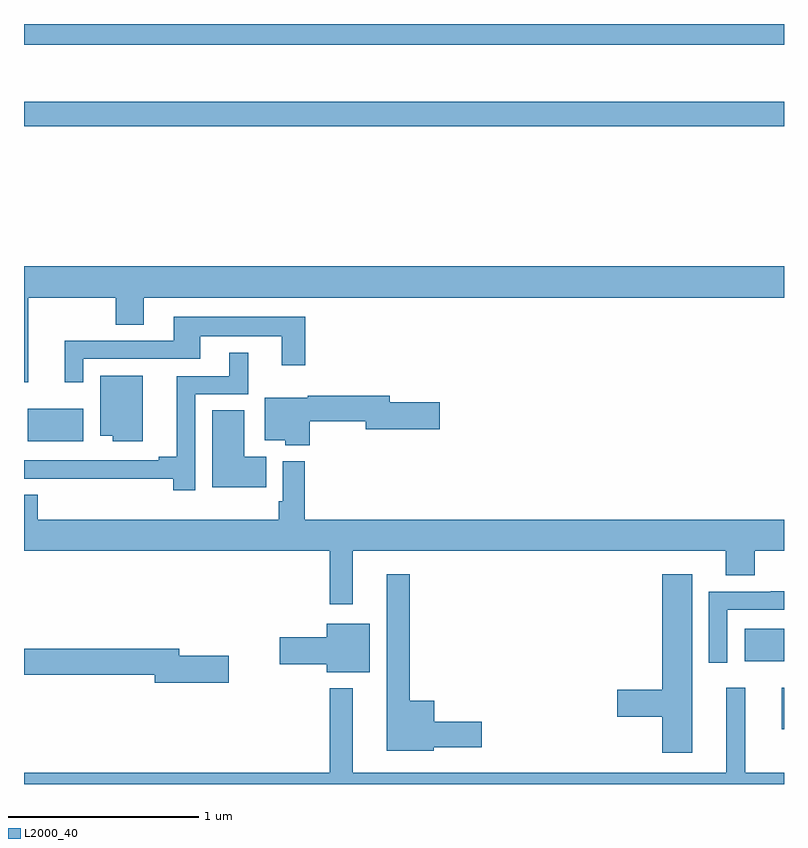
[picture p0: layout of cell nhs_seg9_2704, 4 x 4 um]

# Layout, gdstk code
import gdstk
lib = gdstk.Library(unit=1e-6, precision=1e-09)
def R(c, l, rs):  # rectangles x0, y0, x1, y1
    for r in rs: c.add(gdstk.rectangle(r[:2], r[2:], *l))
def P(c, l, *ps):  # polygons
    for p in ps: c.add(gdstk.Polygon(p, *l))
L2000_40 = (2000, 40)

nhs_seg9_2704 = lib.new_cell('nhs_seg9_2704')
R(nhs_seg9_2704, L2000_40, [(268.988,1220.787,269,1221.007), (268.793,1221.146,269,1221.316), (265.019,1222.304,265.312,1222.474), (265,1223.962,269,1224.091), (265,1224.392,269,1224.5)])
P(nhs_seg9_2704, L2000_40, [(265.022,1223.06),(265.483,1223.06),(265.483,1222.918),(265.63,1222.918),(265.63,1223.06),(269,1223.06),(269,1223.224),(265,1223.224),(265,1222.614),(265.022,1222.614)],
  [(265.311,1222.737),(265.927,1222.737),(265.927,1222.856),(266.357,1222.856),(266.357,1222.704),(266.479,1222.704),(266.479,1222.96),(265.787,1222.96),(265.787,1222.833),(265.214,1222.833),(265.214,1222.614),(265.311,1222.614)],
  [(265.902,1222.551),(266.179,1222.551),(266.179,1222.771),(266.081,1222.771),(266.081,1222.647),(265.805,1222.647),(265.805,1222.223),(265.709,1222.223),(265.709,1222.203),(265,1222.203),(265,1222.107),(265.156,1222.107),(265.156,1222.106),(265.786,1222.106),(265.786,1222.047),(265.902,1222.047)],
  [(265.624,1222.648),(265.4,1222.648),(265.4,1222.334),(265.466,1222.334),(265.466,1222.304),(265.624,1222.304)],
  [(266.505,1222.408),(266.798,1222.408),(266.798,1222.366),(267.187,1222.366),(267.187,1222.508),(266.926,1222.508),(266.926,1222.544),(266.493,1222.544),(266.493,1222.534),(266.267,1222.534),(266.267,1222.31),(266.376,1222.31),(266.376,1222.283),(266.505,1222.283)],
  [(266.276,1222.222),(266.158,1222.222),(266.158,1222.466),(265.991,1222.466),(265.991,1222.061),(266.276,1222.061)],
  [(266.731,1221.728),(268.694,1221.728),(268.694,1221.598),(268.847,1221.598),(268.847,1221.728),(269,1221.728),(269,1221.892),(266.477,1221.892),(266.477,1222.198),(266.361,1222.198),(266.361,1221.988),(266.341,1221.988),(266.341,1221.892),(265.073,1221.892),(265.073,1222.022),(265,1222.022),(265,1221.728),(266.61,1221.728),(266.61,1221.447),(266.731,1221.447)],
  [(267.156,1220.693),(267.409,1220.693),(267.409,1220.828),(267.16,1220.828),(267.16,1220.938),(267.031,1220.938),(267.031,1221.604),(266.909,1221.604),(266.909,1220.675),(267.156,1220.675)],
  [(268.516,1221.604),(268.358,1221.604),(268.358,1220.996),(268.122,1220.996),(268.122,1220.854),(268.358,1220.854),(268.358,1220.664),(268.516,1220.664)],
  [(268.701,1221.417),(269,1221.417),(269,1221.515),(268.93,1221.515),(268.93,1221.513),(268.605,1221.513),(268.605,1221.138),(268.701,1221.138)],
  [(266.821,1221.343),(266.594,1221.343),(266.594,1221.273),(266.346,1221.273),(266.346,1221.131),(266.594,1221.131),(266.594,1221.089),(266.821,1221.089)],
  [(266.077,1221.176),(265.816,1221.176),(265.816,1221.212),(265,1221.212),(265,1221.076),(265.688,1221.076),(265.688,1221.034),(266.077,1221.034)],
  [(269,1220.56),(268.796,1220.56),(268.796,1221.007),(268.697,1221.007),(268.697,1220.56),(266.731,1220.56),(266.731,1221.004),(266.61,1221.004),(266.61,1220.56),(265,1220.56),(265,1220.5),(269,1220.5)])

lib.write_gds('nhs_seg9_2704.gds')
